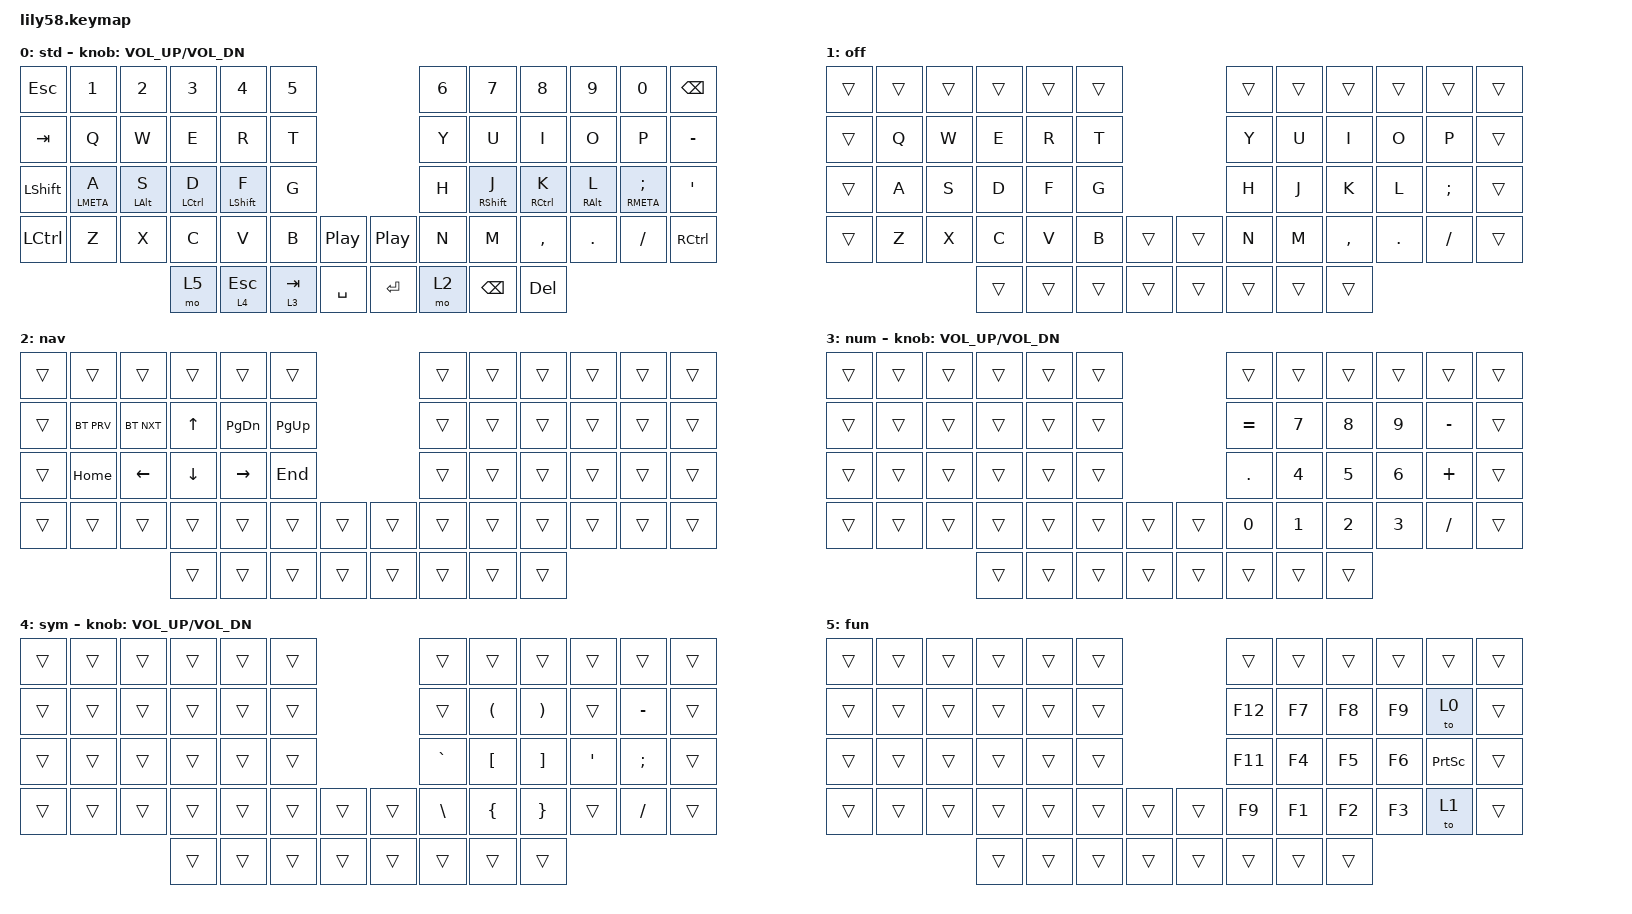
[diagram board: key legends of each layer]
/*
 * Copyright (c) 2020 The ZMK Contributors
 *
 * SPDX-License-Identifier: MIT
 */

#include <behaviors.dtsi>
#include <dt-bindings/zmk/bt.h>
#include <dt-bindings/zmk/keys.h>

/ {
    behaviors {
        ltaphold: ltaphold {
            compatible = "zmk,behavior-hold-tap";
            label = "LTAPHOLD";
            bindings = <&kp>, <&kp>;

            #binding-cells = <2>;
            tapping-term-ms = <150>;
            flavor = "balanced";
            hold-trigger-key-positions = <54 44 55 43 30 18 19 20 21 22 23 30 31 32 33 34 35 44 45 46 47 48 49 55 56 57 6 7 8 9 10 11>;
            quick-tap-ms = <125>;
            require-prior-idle-ms = <150>;
        };

        rtaphold: rtaphold {
            compatible = "zmk,behavior-hold-tap";
            label = "RTAPHOLD";
            bindings = <&kp>, <&kp>;

            #binding-cells = <2>;
            hold-trigger-key-positions = <0 1 2 3 4 5 12 13 14 15 16 17 24 25 26 27 28 29 36 37 38 39 40 41 42 50 51 52 53>;
            tapping-term-ms = <150>;
            quick-tap-ms = <125>;
            require-prior-idle-ms = <150>;
            flavor = "balanced";
        };
    };

    combos {
        compatible = "zmk,combos";

        off-toggle {
            bindings = <&tog 1>;
            key-positions = <50 57>;
        };
    };

    keymap {
        compatible = "zmk,keymap";

        std {
            // ------------------------------------------------------------------------------------------------------------
            // |  ESC  |  1  |  2  |  3   |  4   |  5   |                   |  6   |  7    |  8    |  9   |   0   |   `   |
            // |  TAB  |  Q  |  W  |  E   |  R   |  T   |                   |  Y   |  U    |  I    |  O   |   P   |   -   |
            // |  CTRL |  A  |  S  |  D   |  F   |  G   |                   |  H   |  J    |  K    |  L   |   ;   |   '   |
            // | SHIFT |  Z  |  X  |  C   |  V   |  B   |   "["  |  |  "]"  |  N   |  M    |  ,    |  .   |   /   | SHIFT |
            //                     | ALT  | GUI  | LOWER|  SPACE |  | ENTER | RAISE| BSPC  | GUI   |

            bindings = <
&kp ESC     &kp N1             &kp N2            &kp N3             &kp N4             &kp N5                                           &kp N6  &kp N7              &kp N8             &kp N9            &kp N0                &kp BACKSPACE
&kp TAB     &kp Q              &kp W             &kp E              &kp R              &kp T                                            &kp Y   &kp U               &kp I              &kp O             &kp P                 &kp MINUS
&kp LSHIFT  &ltaphold LMETA A  &ltaphold LALT S  &ltaphold LCTRL D  &ltaphold LSHFT F  &kp G                                            &kp H   &rtaphold RSHIFT J  &rtaphold RCTRL K  &rtaphold RALT L  &rtaphold RMETA SEMI  &kp SQT
&kp LCTRL   &kp Z              &kp X             &kp C              &kp V              &kp B      &kp C_PLAY_PAUSE    &kp C_PLAY_PAUSE  &kp N   &kp M               &kp COMMA          &kp DOT           &kp FSLH              &kp RCTRL
                                                 &mo 5              &lt 4 ESC          &lt 3 TAB  &kp SPACE           &kp ENTER         &mo 2   &kp BACKSPACE       &kp DEL
            >;

            sensor-bindings = <&inc_dec_kp C_VOL_UP C_VOL_DN>;
        };

        off {
            bindings = <
&trans  &trans  &trans  &trans  &trans  &trans                    &trans  &trans  &trans     &trans   &trans    &trans
&trans  &kp Q   &kp W   &kp E   &kp R   &kp T                     &kp Y   &kp U   &kp I      &kp O    &kp P     &trans
&trans  &kp A   &kp S   &kp D   &kp F   &kp G                     &kp H   &kp J   &kp K      &kp L    &kp SEMI  &trans
&trans  &kp Z   &kp X   &kp C   &kp V   &kp B   &trans    &trans  &kp N   &kp M   &kp COMMA  &kp DOT  &kp FSLH  &trans
                        &trans  &trans  &trans  &trans    &trans  &trans  &trans  &trans
            >;
        };

        nav {
            bindings = <
&trans  &trans      &trans      &trans    &trans     &trans                       &trans  &trans  &trans  &trans  &trans  &trans
&trans  &bt BT_PRV  &bt BT_NXT  &kp UP    &kp PG_DN  &kp PG_UP                    &trans  &trans  &trans  &trans  &trans  &trans
&trans  &kp HOME    &kp LEFT    &kp DOWN  &kp RIGHT  &kp END                      &trans  &trans  &trans  &trans  &trans  &trans
&trans  &trans      &trans      &trans    &trans     &trans     &trans    &trans  &trans  &trans  &trans  &trans  &trans  &trans
                                &trans    &trans     &trans     &trans    &trans  &trans  &trans  &trans
            >;
        };

        num {
            // ------------------------------------------------------------------------------------------------------------
            // |       |     |     |      |      |      |                   |      |       |       |      |       |       |
            // |   `   |  1  |  2  |  3   |  4   |  5   |                   |  6   |   7   |   8   |  9   |   0   |       |
            // |   F1  |  F2 |  F3 |  F4  |  F5  |  F6  |                   |      |   <-  |   v   |  ^   |  ->   |       |
            // |   F7  |  F8 |  F9 |  F10 |  F11 |  F12 |        |  |       |  +   |   -   |   =   |  [   |   ]   |   \   |
            //                     |      |      |      |        |  |       |      |       |       |

            bindings = <
&trans  &trans  &trans  &trans  &trans  &trans                    &trans      &trans  &trans  &trans        &trans     &trans
&trans  &trans  &trans  &trans  &trans  &trans                    &kp EQUAL   &kp N7  &kp N8  &kp N9        &kp MINUS  &trans
&trans  &trans  &trans  &trans  &trans  &trans                    &kp PERIOD  &kp N4  &kp N5  &kp NUMBER_6  &kp PLUS   &trans
&trans  &trans  &trans  &trans  &trans  &trans  &trans    &trans  &kp N0      &kp N1  &kp N2  &kp NUMBER_3  &kp SLASH  &trans
                        &trans  &trans  &trans  &trans    &trans  &trans      &trans  &trans
            >;

            sensor-bindings = <&inc_dec_kp C_VOL_UP C_VOL_DN>;
        };

        sym {
            // ------------------------------------------------------------------------------------------------------------
            // | BTCLR | BT1 | BT2 |  BT3 |  BT4 |  BT5 |                   |      |       |       |      |       |       |
            // |  F1   |  F2 |  F3 |  F4  |  F5  |  F6  |                   |  F7  |  F8   |  F9   |  F10 |  F11  |  F12  |
            // |   `   |  !  |  @  |  #   |  $   |  %   |                   |  ^   |  &    |  *    |  (   |   )   |   ~   |
            // |       |     |     |      |      |      |        |  |       |      |  _    |  +    |  {   |   }   |  "|"  |
            //                     |      |      |      |        |  |       |      |       |       |

            bindings = <
&trans  &trans  &trans  &trans  &trans  &trans                    &trans         &trans                &trans                 &trans          &trans         &trans
&trans  &trans  &trans  &trans  &trans  &trans                    &trans         &kp LEFT_PARENTHESIS  &kp RIGHT_PARENTHESIS  &trans          &kp MINUS      &trans
&trans  &trans  &trans  &trans  &trans  &trans                    &kp GRAVE      &kp LEFT_BRACKET      &kp RIGHT_BRACKET      &kp APOSTROPHE  &kp SEMICOLON  &trans
&trans  &trans  &trans  &trans  &trans  &trans  &trans    &trans  &kp BACKSLASH  &kp LEFT_BRACE        &kp RIGHT_BRACE        &trans          &kp SLASH      &trans
                        &trans  &trans  &trans  &trans    &trans  &trans         &trans                &trans
            >;

            sensor-bindings = <&inc_dec_kp C_VOL_UP C_VOL_DN>;
        };

        fun {
            bindings = <
&trans  &trans  &trans  &trans  &trans  &trans                    &trans   &trans  &trans  &trans  &trans           &trans
&trans  &trans  &trans  &trans  &trans  &trans                    &kp F12  &kp F7  &kp F8  &kp F9  &to 0            &trans
&trans  &trans  &trans  &trans  &trans  &trans                    &kp F11  &kp F4  &kp F5  &kp F6  &kp PRINTSCREEN  &trans
&trans  &trans  &trans  &trans  &trans  &trans  &trans    &trans  &kp F9   &kp F1  &kp F2  &kp F3  &to 1            &trans
                        &trans  &trans  &trans  &trans    &trans  &trans   &trans  &trans
            >;
        };
    };

    conditional_layers { compatible = "zmk,conditional-layers"; };
};
